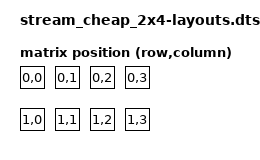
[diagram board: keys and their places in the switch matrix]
/*
 * stream_cheap_2x4-layouts.dtsi
 * Defines a 2×4 matrix‑transform and the corresponding physical layout
 */
 
#include <physical_layouts.dtsi>
#include <dt-bindings/zmk/matrix_transform.h>

/ {
    /*
     * default_transform
     * — a 2‑row × 4‑column matrix mapping, row‑major order
     */
    default_transform: matrix_transform {
        compatible = "zmk,matrix-transform";
        rows       = <2>;
        columns    = <4>;
        map = <
            RC(0,0) RC(0,1) RC(0,2) RC(0,3)
            RC(1,0) RC(1,1) RC(1,2) RC(1,3)
        >;
    };

    /*
     * stream_cheap_2x4_physical_layout
     * — ties the transform + your kscan node to actual key positions
     */
    stream_cheap_2x4_physical_layout: stream_cheap_physical_layout {
        compatible    = "zmk,physical-layout";
        display-name  = "Stream Cheap 2×4";
        transform     = <&default_transform>;
        kscan         = <&kscan0>;

        keys = <
            &key_physical_attrs 56 52    0   56   0 0 0
            &key_physical_attrs 56 52   70   56   0 0 0
            &key_physical_attrs 56 52  140   56   0 0 0
            &key_physical_attrs 56 52  210   56   0 0 0
            &key_physical_attrs 56 52    0  140   0 0 0
            &key_physical_attrs 56 52   70  140   0 0 0
            &key_physical_attrs 56 52  140  140   0 0 0
            &key_physical_attrs 56 52  210  140   0 0 0
        >;
    };
};
